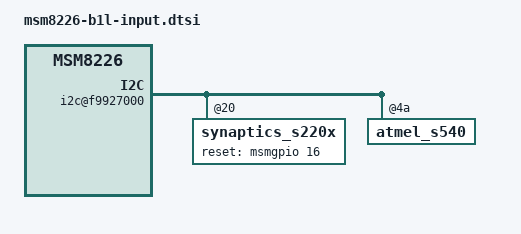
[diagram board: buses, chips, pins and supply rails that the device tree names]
/* Copyright (c) 2013, LGE Electronics. All rights reserved.
 *
 * This program is free software; you can redistribute it and/or modify
 * it under the terms of the GNU General Public License version 2 and
 * only version 2 as published by the Free Software Foundation.
 *
 * This program is distributed in the hope that it will be useful,
 * but WITHOUT ANY WARRANTY; without even the implied warranty of
 * MERCHANTABILITY or FITNESS FOR A PARTICULAR PURPOSE.  See the
 * GNU General Public License for more details.
 */

&soc {
	i2c@f9927000 { /* BLSP1 QUP5 */
		synaptics_red@20 {
			synaptics,reset-gpio = <&msmgpio 16 0x00>;
			status = "disable";
		};

		synaptics_s220x@20 {
			status = "ok";
			revision = "rev_0";
			synaptics,reset-gpio = <&msmgpio 16 0x00>;
			synaptics,fw_version = <0x32 0x04 0x51 0x01>;
			synaptics,fw_version_info = <0x32 0x04 0x51>;
			synaptics,fw_image = "synaptics/b1l_att_us/PLG126-E029-PR1383035-DS4.3.5.1.16.img";
			synaptics,platform_data	{
				number_of_button = <2>;
				button_name = [9e 8b];
				x_max = <1540>;
				y_max = <2560>;
				lcd_x = <736>;
				lcd_y = <1280>;
			/*	gpio_vdd_en = <75>; */
			    /* firmware image depends on this value, temporarily used */
			    /* 0: No image(default), 1: W3DS(TIM BR)(PLG312_T001), 2: W3S(VDF)(PLG311_T001), 3:X3, 4:W5DS, 5:W5S ... */
				panel_type = <4>;
				/*maker_id  disable(0), enable(1)*/
				maker_id = <1>;
				maker_id_gpio = <120>;

				/*pwr*/
				use_vio_regulator = <0>; /*temporary added*/
			};		
		};
		atmel_s540@4a {
			revision = "rev_a...";
			status = "ok";
		};
	};
};
